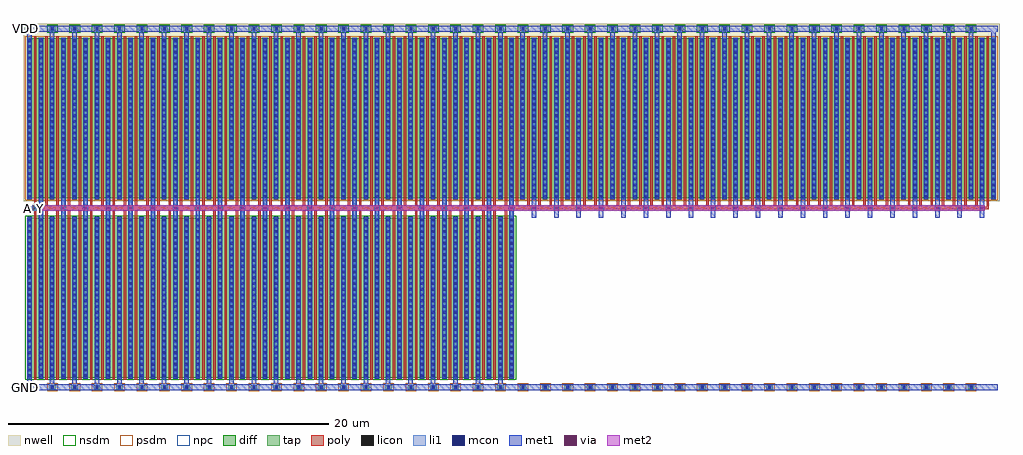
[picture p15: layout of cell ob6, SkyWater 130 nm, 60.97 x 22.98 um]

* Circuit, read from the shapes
.subckt ob6 A GND VDD Y
XM1 Y A GND GND sky130_fd_pr__nfet_01v8 w=10 l=0.15 m=43
XM2 Y A VDD VDD sky130_fd_pr__pfet_01v8 w=10 l=0.15 m=86
.ends

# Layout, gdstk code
import gdstk
lib = gdstk.Library(unit=1e-6, precision=1e-09)
def R(c, l, rs):  # rectangles x0, y0, x1, y1
    for r in rs: c.add(gdstk.rectangle(r[:2], r[2:], *l))
def A(c, l, x, y, w, h, nx, ny, dx, dy):  # array of equal rectangles
    R(c, l, [(x+i*dx, y+j*dy, x+i*dx+w, y+j*dy+h) for i in range(nx) for j in range(ny)])
nwell = (64, 20)
diff = (65, 20)
tap = (65, 44)
poly = (66, 20)
licon = (66, 44)
li1 = (67, 20)
mcon = (67, 44)
met1 = (68, 20)
via = (68, 44)
met2 = (69, 20)
nsdm = (93, 44)
psdm = (94, 20)
npc = (95, 20)

ob6 = lib.new_cell('ob6')
R(ob6, nwell, [(0,11.62,60.97,22.72)])
R(ob6, diff, [(0.22,0.6,30.65,10.6), (0.22,11.8,60.75,21.8)])
A(ob6, tap, 0.195, -0.13, 0.41, 0.26, 43, 2, 1.4, 22.4)
A(ob6, poly, 1.36, 0.47, 0.15, 10.655, 42, 1, 0.7, 0)
A(ob6, poly, 1.36, 11.275, 0.15, 10.655, 85, 1, 0.7, 0)
R(ob6, poly, [(0.66,0.47,0.81,11.065), (0.57,11.065,0.9,11.125), (0.57,11.125,60.31,11.275), (0.57,11.275,0.9,11.335), (0.66,11.335,0.81,21.93)])
A(ob6, licon, 0.315, -0.085, 0.17, 0.17, 43, 2, 1.4, 22.4)
A(ob6, licon, 0.3, 0.64, 0.17, 0.17, 44, 28, 0.7, 0.36)
A(ob6, licon, 0.3, 11.84, 0.17, 0.17, 87, 28, 0.7, 0.36)
R(ob6, licon, [(0.65,11.115,0.82,11.285)])
A(ob6, li1, 0.315, -0.175, 0.17, 0.35, 43, 2, 1.4, 22.4)
A(ob6, li1, 0.3, 0.55, 0.17, 10.1, 22, 1, 1.4, 0)
A(ob6, li1, 1, 0.55, 0.17, 21.3, 22, 1, 1.4, 0)
A(ob6, li1, 0.3, 11.75, 0.17, 10.1, 23, 1, 1.4, 0)
A(ob6, li1, 31.8, 11.75, 0.17, 10.1, 42, 1, 0.7, 0)
R(ob6, li1, [(0.65,11.035,0.82,11.115), (0.165,11.115,0.82,11.285), (0.65,11.285,0.82,11.365)])
A(ob6, mcon, 0.315, -0.085, 0.17, 0.17, 43, 2, 1.4, 22.4)
A(ob6, mcon, 0.3, 0.64, 0.17, 0.17, 44, 28, 0.7, 0.36)
A(ob6, mcon, 0.3, 11.84, 0.17, 0.17, 87, 28, 0.7, 0.36)
A(ob6, met1, 0.245, 0.18, 0.28, 10.47, 22, 1, 1.4, 0)
A(ob6, met1, 0.945, 0.55, 0.28, 10.49, 22, 1, 1.4, 0)
A(ob6, met1, 31.745, 10.6, 0.28, 0.44, 21, 1, 1.4, 0)
A(ob6, met1, 0.925, 11.04, 0.32, 0.32, 43, 1, 1.4, 0)
A(ob6, met1, 0.945, 11.36, 0.28, 10.49, 43, 1, 1.4, 0)
A(ob6, met1, 0.245, 11.75, 0.28, 10.47, 44, 1, 1.4, 0)
R(ob6, met1, [(0.1,-0.18,60.87,0.18), (0.1,22.22,60.87,22.58)])
A(ob6, via, 1.01, 11.125, 0.15, 0.15, 43, 1, 1.4, 0)
R(ob6, met2, [(0.935,11.04,60.035,11.36)])
A(ob6, nsdm, 0.07, 22.145, 0.66, 0.51, 43, 1, 1.4, 0)
R(ob6, nsdm, [(0.095,0.475,30.775,10.725)])
A(ob6, psdm, 0.07, -0.255, 0.66, 0.51, 43, 1, 1.4, 0)
R(ob6, psdm, [(0.095,11.675,60.875,21.925)])
R(ob6, npc, [(0.55,11.015,0.92,11.385)])
ob6.add(gdstk.Label('A', (0.25,11.2), layer=67, texttype=5))
ob6.add(gdstk.Label('Y', (1.085,11.2), layer=69, texttype=5))
ob6.add(gdstk.Label('VDD', (0.1,22.4), layer=68, texttype=5))
ob6.add(gdstk.Label('GND', (0.1,0), layer=68, texttype=5))

lib.write_gds('ob6.gds')
